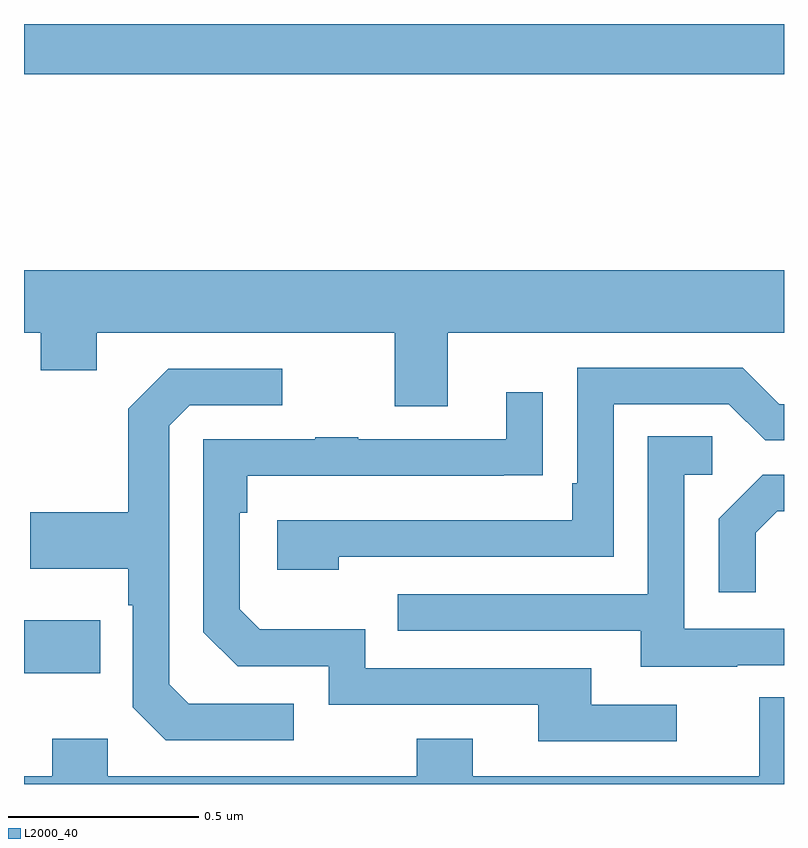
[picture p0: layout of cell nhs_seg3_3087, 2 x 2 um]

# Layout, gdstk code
import gdstk
lib = gdstk.Library(unit=1e-6, precision=1e-09)
def R(c, l, rs):  # rectangles x0, y0, x1, y1
    for r in rs: c.add(gdstk.rectangle(r[:2], r[2:], *l))
def P(c, l, *ps):  # polygons
    for p in ps: c.add(gdstk.Polygon(p, *l))
L2000_40 = (2000, 40)

nhs_seg3_3087 = lib.new_cell('nhs_seg3_3087')
R(nhs_seg3_3087, L2000_40, [(149,694.691,149.201,694.831), (149,696.268,151,696.4)])
P(nhs_seg3_3087, L2000_40, [(150.115,695.588),(151,695.588),(151,695.752),(149,695.752),(149,695.588),(149.044,695.588),(149.044,695.489),(149.191,695.489),(149.191,695.588),(149.975,695.588),(149.975,695.394),(150.115,695.394)],
  [(149.828,694.998),(150.552,694.998),(150.552,695.4),(150.855,695.4),(150.951,695.304),(151,695.304),(151,695.4),(150.987,695.4),(150.891,695.496),(150.456,695.496),(150.456,695.191),(150.443,695.191),(150.443,695.094),(149.667,695.094),(149.667,694.964),(149.828,694.964)],
  [(149.71,694.611),(149.433,694.611),(149.382,694.662),(149.382,695.343),(149.436,695.397),(149.68,695.397),(149.68,695.493),(149.379,695.493),(149.274,695.387),(149.274,695.115),(149.017,695.115),(149.017,694.967),(149.274,694.967),(149.274,694.871),(149.286,694.871),(149.286,694.602),(149.373,694.515),(149.71,694.515)],
  [(150.718,694.608),(150.493,694.608),(150.493,694.704),(149.898,694.704),(149.898,694.807),(149.621,694.807),(149.568,694.86),(149.568,695.114),(149.588,695.114),(149.588,695.211),(150.263,695.211),(150.263,695.212),(150.365,695.212),(150.365,695.431),(150.269,695.431),(150.269,695.307),(149.879,695.307),(149.879,695.312),(149.767,695.312),(149.767,695.307),(149.472,695.307),(149.472,694.8),(149.562,694.71),(149.802,694.71),(149.802,694.608),(150.353,694.608),(150.353,694.512),(150.718,694.512)],
  [(150.877,694.713),(151,694.713),(151,694.809),(150.738,694.809),(150.738,695.214),(150.811,695.214),(150.811,695.315),(150.642,695.315),(150.642,694.899),(149.983,694.899),(149.983,694.803),(150.623,694.803),(150.623,694.709),(150.877,694.709)],
  [(150.925,695.061),(150.982,695.118),(151,695.118),(151,695.214),(150.944,695.214),(150.828,695.098),(150.828,694.905),(150.925,694.905)],
  [(151,694.628),(150.935,694.628),(150.935,694.42),(150.181,694.42),(150.181,694.519),(150.034,694.519),(150.034,694.42),(149.22,694.42),(149.22,694.519),(149.074,694.519),(149.074,694.42),(149,694.42),(149,694.4),(151,694.4)])

lib.write_gds('nhs_seg3_3087.gds')
